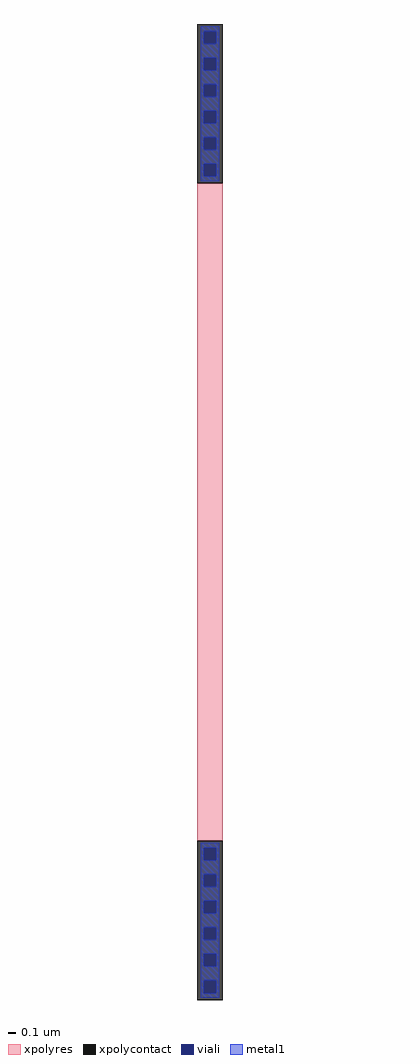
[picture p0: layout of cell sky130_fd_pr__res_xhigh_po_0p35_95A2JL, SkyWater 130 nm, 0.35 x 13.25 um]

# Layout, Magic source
magic
tech sky130A
magscale 1 2
<< xpolycontact >>
rect -35 893 35 1325
rect -35 -1325 35 -893
<< xpolyres >>
rect -35 -893 35 893
<< viali >>
rect -17 1271 17 1305
rect -17 1199 17 1233
rect -17 1127 17 1161
rect -17 1055 17 1089
rect -17 983 17 1017
rect -17 911 17 945
rect -17 -946 17 -912
rect -17 -1018 17 -984
rect -17 -1090 17 -1056
rect -17 -1162 17 -1128
rect -17 -1234 17 -1200
rect -17 -1306 17 -1272
<< metal1 >>
rect -25 1305 25 1319
rect -25 1271 -17 1305
rect 17 1271 25 1305
rect -25 1233 25 1271
rect -25 1199 -17 1233
rect 17 1199 25 1233
rect -25 1161 25 1199
rect -25 1127 -17 1161
rect 17 1127 25 1161
rect -25 1089 25 1127
rect -25 1055 -17 1089
rect 17 1055 25 1089
rect -25 1017 25 1055
rect -25 983 -17 1017
rect 17 983 25 1017
rect -25 945 25 983
rect -25 911 -17 945
rect 17 911 25 945
rect -25 898 25 911
rect -25 -912 25 -898
rect -25 -946 -17 -912
rect 17 -946 25 -912
rect -25 -984 25 -946
rect -25 -1018 -17 -984
rect 17 -1018 25 -984
rect -25 -1056 25 -1018
rect -25 -1090 -17 -1056
rect 17 -1090 25 -1056
rect -25 -1128 25 -1090
rect -25 -1162 -17 -1128
rect 17 -1162 25 -1128
rect -25 -1200 25 -1162
rect -25 -1234 -17 -1200
rect 17 -1234 25 -1200
rect -25 -1272 25 -1234
rect -25 -1306 -17 -1272
rect 17 -1306 25 -1272
rect -25 -1319 25 -1306
<< end >>
